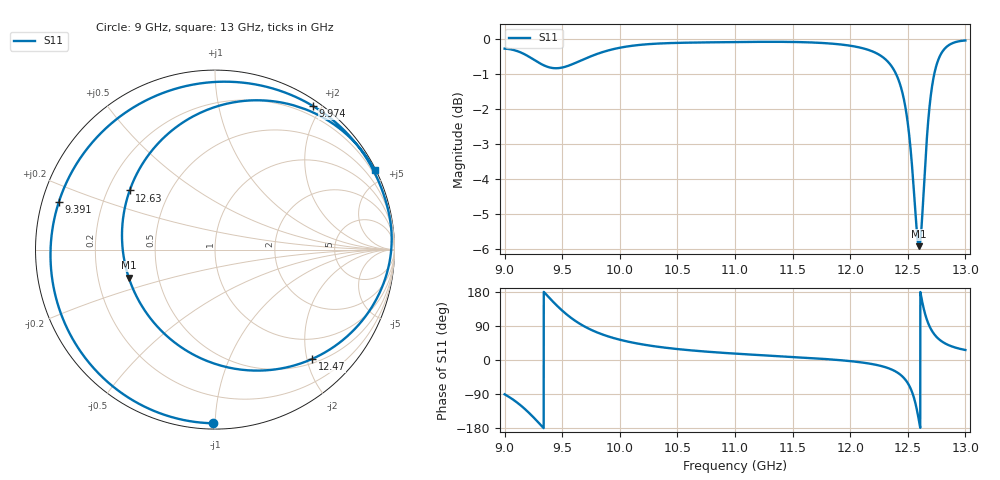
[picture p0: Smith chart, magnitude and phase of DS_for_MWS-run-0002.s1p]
! TOUCHSTONE file generated by CST DESIGN STUDIO
! Date and time: Tue Feb  4 12:44:38 2025
! Project name: C:\Work\MatlabApps\UnitCellOptimizationMatlab\CST\unitcell.cst
! Tree item: Tasks\Sweep1\SPara1\S-Parameters
! Header version: 2024
! Port assignment regex: !\s*Touchstone port\s*([0-9]+)\s*=\s*(CST MWS port|CST DES external port|CST DES block port)\s*(.+)\s* \(\"(.*)\"\)(\s*mode\s*([0-9]+))?.*
! Touchstone port assignment:
! Touchstone port 1 = CST DES external port 1 ("")
# GHz S MA R 50
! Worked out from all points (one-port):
!   4001 points, 9 GHz to 13 GHz, reference 50 ohm
!   lowest |S11| = -5.9 dB at 12.6 GHz (marker M1), VSWR 3.04, Z = 16.8 - j7.06 ohm
!   |S11| at or under -10 dB: nowhere
!   S11 on the Smith chart (normalised r, x): 9 GHz: 0.03, -0.99; 9.391 GHz: 0.05, +0.15; 9.974 GHz: 0.07, +1.90; 12.47 GHz: 0.58, -2.09; 12.63 GHz: 0.29, +0.29; 13 GHz: 0.06, +4.26
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9  0.9677 -90.5
9.097  0.9614 -109.6
9.182  0.9483 -131.0
9.293  0.9248 -164.8
9.391  0.9096 163.1
9.5  0.9094 130.4
9.582  0.9185 110.1
9.676  0.9327 91.5
9.817  0.9528 71.1
9.974  0.9686 55.6
10  0.9705 53.5
10.5  0.9862 28.9
11  0.9889 16.8
11.5  0.9892 8.0
12  0.9771 -2.9
12.322  0.9289 -20.6
12.407  0.8836 -32.6
12.469  0.8148 -48.4
12.5  0.757 -61.1
12.553  0.6051 -99.2
12.598  0.5053 -162.0
12.631  0.5785 145.2
12.66  0.6987 111.5
12.689  0.8004 88.7
12.732  0.8938 67.1
12.779  0.9447 52.7
12.868  0.9816 37.5
13  0.9941 26.4
